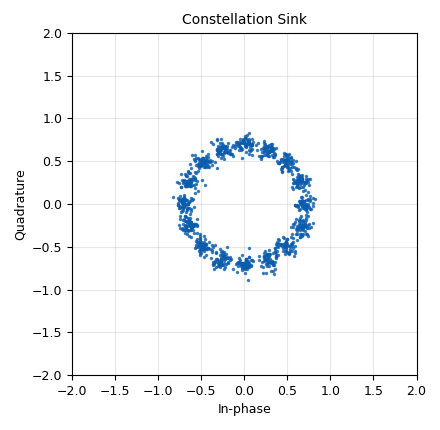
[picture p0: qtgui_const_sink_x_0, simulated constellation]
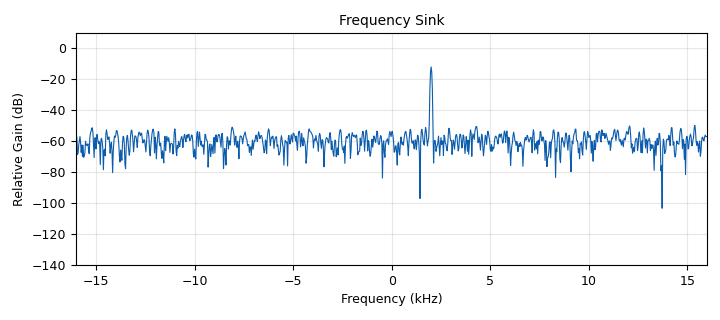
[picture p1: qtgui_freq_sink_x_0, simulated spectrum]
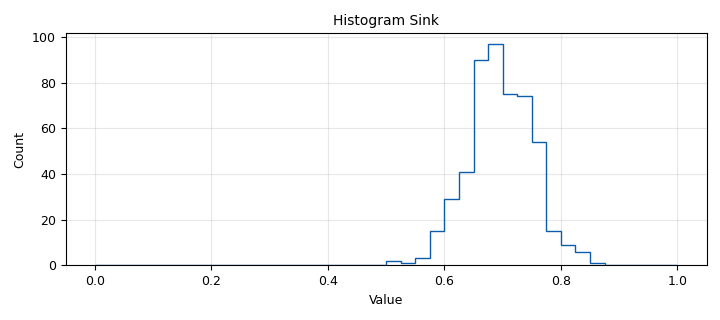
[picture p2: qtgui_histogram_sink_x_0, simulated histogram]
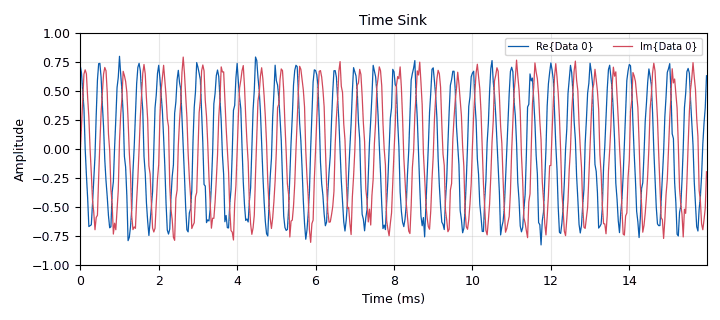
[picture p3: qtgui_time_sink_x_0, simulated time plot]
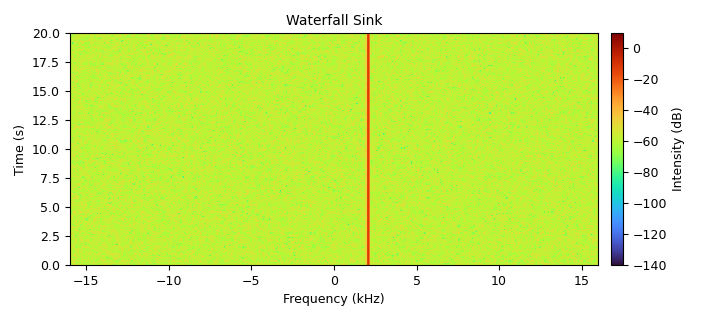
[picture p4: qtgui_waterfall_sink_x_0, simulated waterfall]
options:
  parameters:
    generate_options: qt_gui
    id: fg_ch16_001
    output_language: python
    title: FG-CH16-001
  states: {}

blocks:
- name: samp_rate
  id: variable
  parameters:
    value: '32000'
  states: {}
- name: analog_noise_source_x_0
  id: analog_noise_source_x
  parameters:
    amp: '0.08'
    noise_type: analog.GR_GAUSSIAN
    seed: '0'
    type: complex
  states: {}
- name: analog_sig_source_x_0
  id: analog_sig_source_x
  parameters:
    amp: '0.7'
    freq: '2000'
    offset: '0'
    phase: '0'
    samp_rate: samp_rate
    type: complex
    waveform: analog.GR_COS_WAVE
  states: {}
- name: blocks_add_xx_0
  id: blocks_add_xx
  parameters:
    type: complex
  states: {}
- name: blocks_complex_to_mag_0
  id: blocks_complex_to_mag
  parameters: {}
  states: {}
- name: blocks_throttle2_0
  id: blocks_throttle2
  parameters:
    samples_per_second: samp_rate
    type: complex
  states: {}
- name: qtgui_const_sink_x_0
  id: qtgui_const_sink_x
  parameters:
    gui_hint: 1,1,1,1
    name: '"Constellation Sink"'
    size: '1024'
    type: complex
  states: {}
- name: qtgui_freq_sink_x_0
  id: qtgui_freq_sink_x
  parameters:
    bw: samp_rate
    fc: '0'
    fftsize: '1024'
    gui_hint: 0,1,1,1
    name: '"Frequency Sink"'
    type: complex
  states: {}
- name: qtgui_histogram_sink_x_0
  id: qtgui_histogram_sink_x
  parameters:
    bins: '40'
    gui_hint: 2,0,1,1
    name: '"Histogram Sink"'
    size: '512'
    type: float
    xmax: '1'
    xmin: '0'
  states: {}
- name: qtgui_number_sink_0
  id: qtgui_number_sink
  parameters:
    graph_type: qtgui.NUM_GRAPH_HORIZ
    gui_hint: 2,1,1,1
    min: '0'
    name: '"Number Sink"'
    type: float
  states: {}
- name: qtgui_time_sink_x_0
  id: qtgui_time_sink_x
  parameters:
    gui_hint: 0,0,1,1
    name: '"Time Sink"'
    size: '512'
    srate: samp_rate
    type: complex
  states: {}
- name: qtgui_waterfall_sink_x_0
  id: qtgui_waterfall_sink_x
  parameters:
    bw: samp_rate
    fc: '0'
    fftsize: '1024'
    gui_hint: 1,0,1,1
    name: '"Waterfall Sink"'
    type: complex
  states: {}

connections:
- [analog_noise_source_x_0, '0', blocks_add_xx_0, '1']
- [analog_sig_source_x_0, '0', blocks_add_xx_0, '0']
- [blocks_add_xx_0, '0', blocks_throttle2_0, '0']
- [blocks_complex_to_mag_0, '0', qtgui_histogram_sink_x_0, '0']
- [blocks_complex_to_mag_0, '0', qtgui_number_sink_0, '0']
- [blocks_throttle2_0, '0', blocks_complex_to_mag_0, '0']
- [blocks_throttle2_0, '0', qtgui_const_sink_x_0, '0']
- [blocks_throttle2_0, '0', qtgui_freq_sink_x_0, '0']
- [blocks_throttle2_0, '0', qtgui_time_sink_x_0, '0']
- [blocks_throttle2_0, '0', qtgui_waterfall_sink_x_0, '0']

metadata:
  file_format: 1
  grc_version: 3.10.12.0
